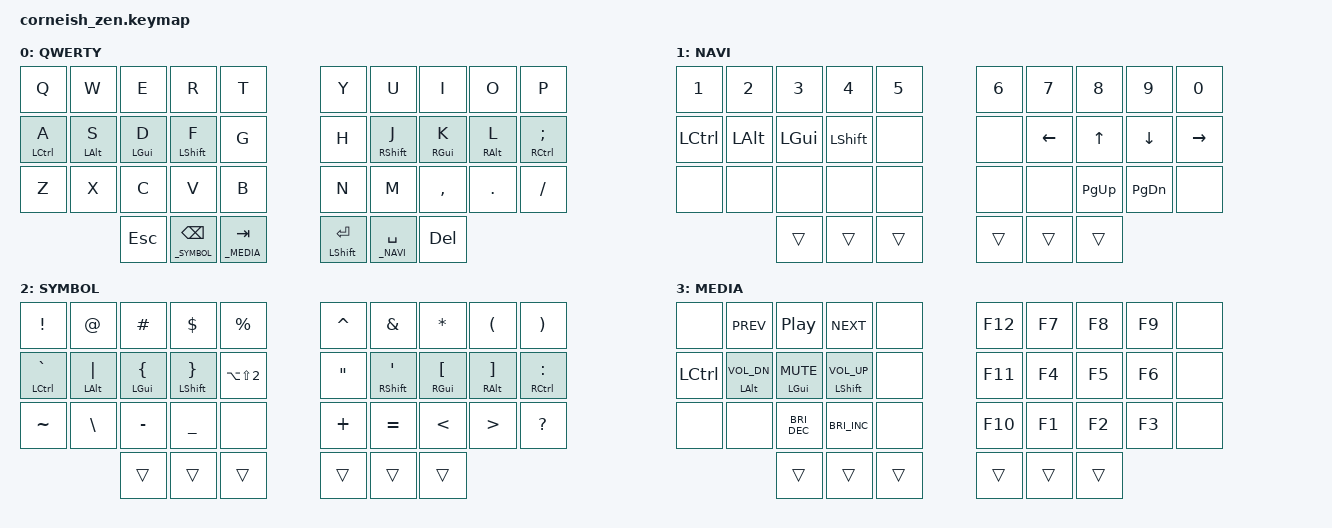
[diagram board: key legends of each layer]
#include <behaviors.dtsi>
#include <dt-bindings/zmk/keys.h>
#include <dt-bindings/zmk/bt.h>

#define _DEFAULT 0
#define _NAVI 1
#define _SYMBOL 2
#define _MEDIA 3

#define TAPPING_TERM 150
#define QUICK_TAP 200

/* Key index
 0  1  2  3  4         5  6  7  8  9
10 11 12 13 14        15 16 17 18 19
20 21 22 23 24        25 26 27 28 29
        30 31 32    33 34 35         */

/ {
    combos {
        compatible = "zmk,combos";
        combo_grave_acc {
            timeout-ms = <50>;
            key-positions = <1 2 3>;
            bindings = <&kp LA(GRAVE)>;
        };
        combo_acute_acc {
            timeout-ms = <50>;
            key-positions = <6 7 8>;
            bindings = <&kp LA(E)>;
        };
    };
};

&lt {
    tapping-term-ms = <TAPPING_TERM>;
    quick-tap-ms = <QUICK_TAP>;
};

&mt {
    tapping-term-ms = <TAPPING_TERM>;
    quick-tap-ms = <QUICK_TAP>;
};

/ {
    behaviors {
        hm: homerow_mods {
            compatible = "zmk,behavior-hold-tap";
            label = "HOMEROW_MODS";
            #binding-cells = <2>;
            tapping-term-ms = <TAPPING_TERM>;
            quick-tap-ms = <QUICK_TAP>;
            flavor = "tap-preferred";
            bindings = <&kp>, <&kp>;
        };
    };
};

/ {
  chosen {
    zmk,matrix_transform = &five_column_transform;
  };
};

/ {
        keymap {
                compatible = "zmk,keymap";

                default_layer {
                        label = "QWERTY";
                        bindings = <
   &kp Q        &kp W       &kp E       &kp R        &kp T      &kp Y  &kp U        &kp I       &kp O       &kp P
   &hm LCTRL A  &hm LALT S  &hm LGUI D  &hm LSHFT F  &kp G      &kp H  &hm RSHFT J  &hm RGUI K  &hm RALT L  &hm RCTRL SEMI
   &kp Z        &kp X       &kp C       &kp V        &kp B      &kp N  &kp M        &kp COMMA   &kp DOT     &kp FSLH
                &kp ESC  &lt _SYMBOL BSPC  &lt _MEDIA TAB      &mt LSHFT RET  &lt _NAVI SPC  &kp DEL
                        >;
                };

                navi_layer {
                        label = "NAVI";
                        bindings = <
   &kp N1     &kp N2    &kp N3    &kp N4     &kp N5      &kp N6  &kp N7    &kp N8     &kp N9     &kp N0
   &kp LCTRL  &kp LALT  &kp LGUI  &kp LSHFT  &none       &none   &kp LEFT  &kp UP     &kp DOWN   &kp RIGHT
   &none      &none     &none     &none      &none       &none   &none     &kp PG_UP  &kp PG_DN  &none
                &trans  &trans  &trans      &trans  &trans  &trans
                        >;
                };

                symbol_layer {
                        label = "SYMBOL";
                        bindings = <
   &kp EXCL         &kp AT         &kp HASH       &kp DLLR        &kp PRCNT            &kp CARET  &kp AMPS       &kp STAR       &kp LPAR       &kp RPAR
   &hm LCTRL GRAVE  &hm LALT PIPE  &hm LGUI LBRC  &hm LSHFT RBRC  &kp LA(LS(N2))       &kp DQT    &hm RSHFT SQT  &hm RGUI LBKT  &hm RALT RBKT  &hm RCTRL COLON 
   &kp TILDE         &kp BSLH      &kp MINUS      &kp UNDER       &none                &kp PLUS   &kp EQUAL      &kp LT         &kp GT         &kp QMARK
              &trans  &trans  &trans      &trans  &trans  &trans
                        >;
                };

                media_layer {
                        label = "MEDIA";
                        bindings = <
   &none      &kp C_PREV         &kp C_PP         &kp C_NEXT          &none      &kp F12  &kp F7  &kp F8  &kp F9  &none
   &kp LCTRL  &hm LALT C_VOL_DN  &hm LGUI K_MUTE  &hm LSHFT C_VOL_UP  &none      &kp F11  &kp F4  &kp F5  &kp F6  &none
   &none      &none              &kp C_BRI_DEC    &kp C_BRI_INC       &none      &kp F10  &kp F1  &kp F2  &kp F3  &none
              &trans  &trans  &trans      &trans  &trans  &trans
                        >;
                };

        };
};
